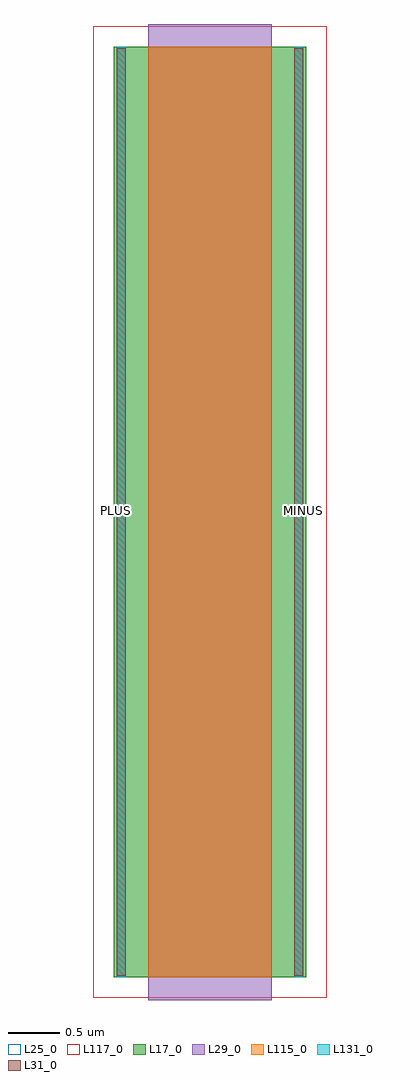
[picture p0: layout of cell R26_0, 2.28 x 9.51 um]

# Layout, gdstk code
import gdstk
lib = gdstk.Library(unit=1e-6, precision=1e-09)
def R(c, l, rs):  # rectangles x0, y0, x1, y1
    for r in rs: c.add(gdstk.rectangle(r[:2], r[2:], *l))
L17_0 = (17, 0)
L25_0 = (25, 0)
L29_0 = (29, 0)
L31_0 = (31, 0)
L115_0 = (115, 0)
L117_0 = (117, 0)
L131_0 = (131, 0)

r26_0 = lib.new_cell('R26_0')
R(r26_0, L17_0, [(0.2,0.22,2.08,9.29)])
R(r26_0, L25_0, [(0,0.02,2.28,9.49)])
R(r26_0, L29_0, [(0.54,0,1.74,9.51)])
R(r26_0, L31_0, [(0.23,0.235,0.32,9.275), (1.96,0.235,2.05,9.275)])
R(r26_0, L115_0, [(0.54,0.22,1.74,9.29)])
R(r26_0, L117_0, [(0,0.02,2.28,9.49)])
R(r26_0, L131_0, [(0.23,0.22,0.32,9.29), (1.96,0.22,2.05,9.29)])
r26_0.add(gdstk.Label('PLUS', (0.23,4.77), layer=131, texttype=0))
r26_0.add(gdstk.Label('MINUS', (2.05,4.77), layer=131, texttype=0))

lib.write_gds('R26_0.gds')
